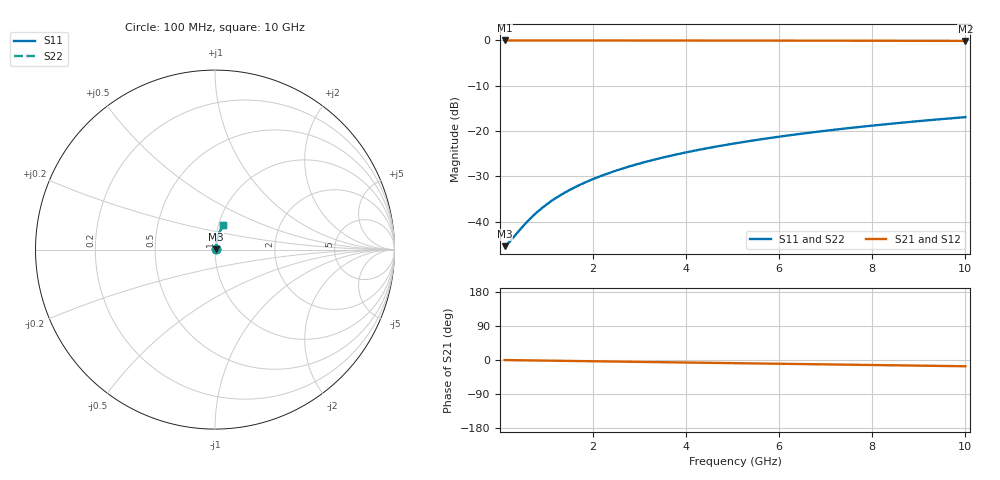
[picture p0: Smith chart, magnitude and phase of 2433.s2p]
# Hz S RI R 50.00
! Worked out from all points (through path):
!   100 points, 100 MHz to 10 GHz, reference 50 ohm
!   highest |S21| = -0.04 dB at 100 MHz (marker M1); lowest = -0.1 dB at 10 GHz (marker M2)
!   group delay of S21, straight-line fit = 4.58 ps
!   lowest |S11| = -45.4 dB at 100 MHz (marker M3), VSWR 1.01, Z = 50.5 + j0.145 ohm
!   |S11| at or under -10 dB: start of sweep to end of sweep
!   |S22| runs from -45.4 to -17.0 dB; largest |S21 - S12| = 0
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1e8  0.00515 0.00143  0.9948 -0.00288  0.9948 -0.00288  0.00515 0.00143
2e8  0.00519 0.00286  0.9948 -0.00576  0.9948 -0.00576  0.00519 0.00286
5e8  0.00534 0.00715  0.9946 -0.0144  0.9946 -0.0144  0.00534 0.00715
6e8  0.0054 0.00858  0.9946 -0.0173  0.9946 -0.0173  0.0054 0.00858
7e8  0.00547 0.01  0.9945 -0.0201  0.9945 -0.0201  0.00547 0.01
9e8  0.00563 0.0129  0.9943 -0.0259  0.9943 -0.0259  0.00563 0.0129
1.1e9  0.00581 0.0157  0.994 -0.0316  0.994 -0.0316  0.00581 0.0157
1.3e9  0.00603 0.0186  0.9938 -0.0374  0.9938 -0.0374  0.00603 0.0186
1.5e9  0.00628 0.0214  0.9935 -0.0431  0.9935 -0.0431  0.00628 0.0214
1.8e9  0.00671 0.0257  0.9929 -0.0517  0.9929 -0.0517  0.00671 0.0257
2.1e9  0.00721 0.0299  0.9923 -0.0603  0.9923 -0.0603  0.00721 0.0299
2.5e9  0.00799 0.0356  0.9913 -0.0718  0.9913 -0.0718  0.00799 0.0356
2.9e9  0.00891 0.0413  0.9902 -0.0832  0.9902 -0.0832  0.00891 0.0413
3.4e9  0.0102 0.0483  0.9885 -0.0975  0.9885 -0.0975  0.0102 0.0483
3.8e9  0.0114 0.0538  0.987 -0.1089  0.987 -0.1089  0.0114 0.0538
4.2e9  0.0128 0.0594  0.9853 -0.1202  0.9853 -0.1202  0.0128 0.0594
5.1e9  0.0162 0.0717  0.981 -0.1456  0.981 -0.1456  0.0162 0.0717
5.9e9  0.0198 0.0825  0.9765 -0.168  0.9765 -0.168  0.0198 0.0825
6.7e9  0.0239 0.0931  0.9713 -0.1902  0.9713 -0.1902  0.0239 0.0931
7.5e9  0.0284 0.1035  0.9655 -0.2122  0.9655 -0.2122  0.0284 0.1035
8.4e9  0.0341 0.1149  0.9583 -0.2367  0.9583 -0.2367  0.0341 0.1149
1e10  0.0456 0.1343  0.9437 -0.2793  0.9437 -0.2793  0.0456 0.1343
